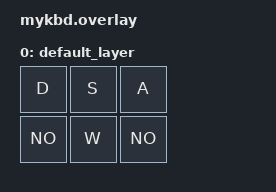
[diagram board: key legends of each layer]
/ {
    keymap {
        compatible = "zmk,keymap";

        default_layer {
            bindings = <
                &kp D    &kp S    &kp A
                &kp NO   &kp W    &kp NO
            >;
        };
    };
};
